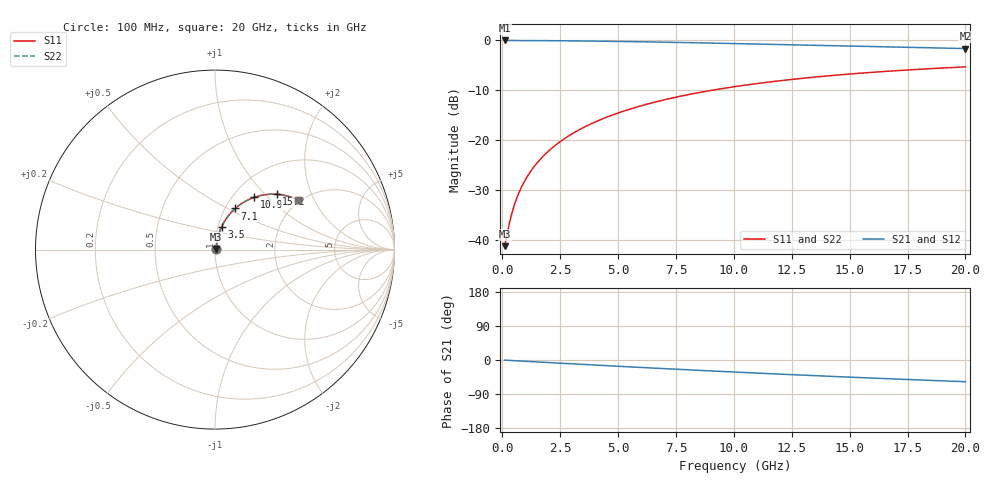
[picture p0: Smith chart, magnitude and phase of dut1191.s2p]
! Touchstone file exported from HFSS 2026.1.0
!  File:  C:/ffzhzh/LocalFiles/Ansys_Project_Files/temp_train_TMRDL_1191_1783162821_18472.aedt
!  Generated:  07:01:48 PM Jul  4, 2026
!  Design:  TMRDL
!  Project:  temp_train_TMRDL_1191_1783162821_18472
! Variables:
!  h_bsmrdl = 2um
!  h_ox = 20um
!  h_rdl = 5um
!  h_sub = 80um
!  h_tmrdl = 3.7um
!  h_tsv = 80um
!  h_via = 3um
!  l_bsmrdl = 300um
!  l_sub = 1278.64um
!  l_tmrdl = 878.64um
!  m_sub = 200um
!  pitch = 35.29um
!  r_tsv = 6um
!  s_tmrdl = 10um
!  w_bsmrdl = 18um
!  w_sub = 500um
!  w_tmrdl = 10.99um
!  x_tsv_center1 = 884.135um
!  x_tsv_center2 = 1202.135um
!  x_tsv_center3 = 2091.765um
!  x_tsv_center4 = 2409.765um
!  x_tsv_center5 = 3299.395um
!  x_tsv_center6 = 3617.395um
# GHz S MA R 50.000000
! Terminal data exported
! Port[1] = TM_RDL1_1_T1
! Port[2] = TM_RDL1_1_T2
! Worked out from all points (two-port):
!   200 points, 100 MHz to 20 GHz, reference 50 ohm
!   highest |S21| = -0.07 dB at 100 MHz (marker M1); lowest = -1.7 dB at 20 GHz (marker M2)
!   |S21| within 3 dB of the highest: start of sweep to end of sweep
!   lowest |S11| = -41.3 dB at 100 MHz (marker M3), VSWR 1.02, Z = 50.8 + j0.408 ohm
!   |S11| at or under -10 dB: start of sweep to 9.12 GHz
!   |S22| runs from -41.3 to -5.4 dB; largest |S21 - S12| = 4.8e-15
!   S11 on the Smith chart (normalised r, x): 100 MHz: 1.02, +0.01; 3.5 GHz: 1.04, +0.27; 7.1 GHz: 1.11, +0.55; 10.9 GHz: 1.25, +0.84; 15.2 GHz: 1.50, +1.17; 20 GHz: 1.95, +1.52
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0.1  0.008602 27.9  0.9924 -0.3  0.9924 -0.3  0.008602 27.9
! Gamma 0 0 0 0
! Port Impedance 50 0 50 0
0.3  0.01439 56.1  0.9921 -1.0  0.9921 -1.0  0.01439 56.1
0.4  0.01789 62.2  0.9919 -1.4  0.9919 -1.4  0.01789 62.2
0.6  0.02516 68.8  0.9915 -2.1  0.9915 -2.1  0.02516 68.8
0.7  0.02884 70.7  0.9912 -2.4  0.9912 -2.4  0.02884 70.7
0.9  0.03626 73.2  0.9908 -3.1  0.9908 -3.1  0.03626 73.2
1.2  0.04745 75.2  0.9901 -4.1  0.9901 -4.1  0.04745 75.2
1.7  0.06619 76.3  0.9887 -5.7  0.9887 -5.7  0.06619 76.3
2.2  0.0849 76.2  0.987 -7.4  0.987 -7.4  0.08489 76.2
2.8  0.1072 75.3  0.9844 -9.4  0.9844 -9.4  0.1072 75.3
3.5  0.1328 73.8  0.9807 -11.7  0.9807 -11.7  0.1328 73.8
4.2  0.158 72.0  0.9764 -14.0  0.9764 -14.0  0.158 72.0
5  0.1861 69.8  0.9708 -16.6  0.9708 -16.6  0.186 69.8
6.8  0.246 64.6  0.9558 -22.2  0.9558 -22.2  0.246 64.6
7.1  0.2556 63.8  0.9531 -23.1  0.9531 -23.1  0.2556 63.8
8.5  0.2983 59.7  0.9395 -27.4  0.9395 -27.4  0.2983 59.8
10.1  0.3434 55.3  0.923 -32.0  0.923 -32.0  0.3434 55.3
10.9  0.3645 53.1  0.9146 -34.3  0.9146 -34.3  0.3644 53.1
13.4  0.424 46.5  0.8878 -41.1  0.8878 -41.1  0.4239 46.5
15.2  0.4612 41.9  0.8689 -45.8  0.8689 -45.8  0.4611 42.0
16.7  0.4887 38.3  0.8538 -49.5  0.8538 -49.5  0.4887 38.4
20  0.5393 30.7  0.8233 -57.3  0.8233 -57.3  0.5392 30.8
